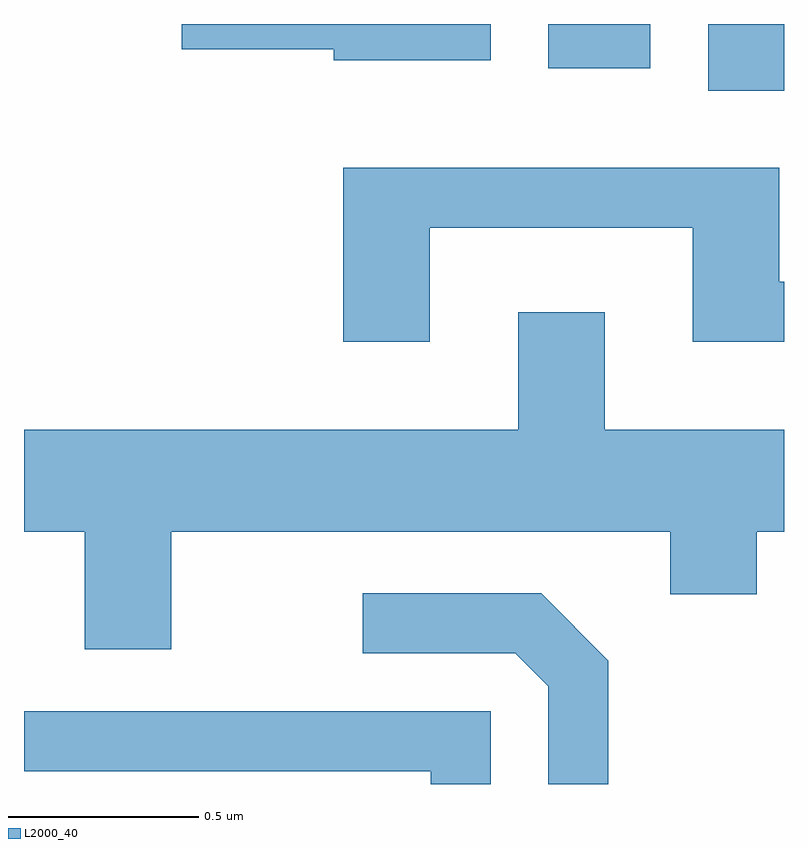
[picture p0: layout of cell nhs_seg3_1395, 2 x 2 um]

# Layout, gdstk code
import gdstk
lib = gdstk.Library(unit=1e-6, precision=1e-09)
def R(c, l, rs):  # rectangles x0, y0, x1, y1
    for r in rs: c.add(gdstk.rectangle(r[:2], r[2:], *l))
def P(c, l, *ps):  # polygons
    for p in ps: c.add(gdstk.Polygon(p, *l))
L2000_40 = (2000, 40)

nhs_seg3_1395 = lib.new_cell('nhs_seg3_1395')
R(nhs_seg3_1395, L2000_40, [(197.411,1142.716,197.611,1142.892), (196.991,1142.776,197.259,1142.892)])
P(nhs_seg3_1395, L2000_40, [(196.839,1142.892),(196.026,1142.892),(196.026,1142.826),(196.426,1142.826),(196.426,1142.796),(196.839,1142.796)],
  [(196.679,1142.356),(197.371,1142.356),(197.371,1142.056),(197.611,1142.056),(197.611,1142.214),(197.599,1142.214),(197.599,1142.514),(196.451,1142.514),(196.451,1142.056),(196.679,1142.056)],
  [(195.999,1141.556),(197.311,1141.556),(197.311,1141.391),(197.539,1141.391),(197.539,1141.556),(197.611,1141.556),(197.611,1141.824),(197.139,1141.824),(197.139,1142.134),(196.911,1142.134),(196.911,1141.824),(195.611,1141.824),(195.611,1141.556),(195.771,1141.556),(195.771,1141.246),(195.999,1141.246)],
  [(197.149,1141.217),(196.972,1141.394),(196.503,1141.394),(196.503,1141.236),(196.904,1141.236),(196.991,1141.149),(196.991,1140.892),(197.149,1140.892)],
  [(196.839,1141.084),(195.611,1141.084),(195.611,1140.926),(196.681,1140.926),(196.681,1140.892),(196.839,1140.892)])

lib.write_gds('nhs_seg3_1395.gds')
